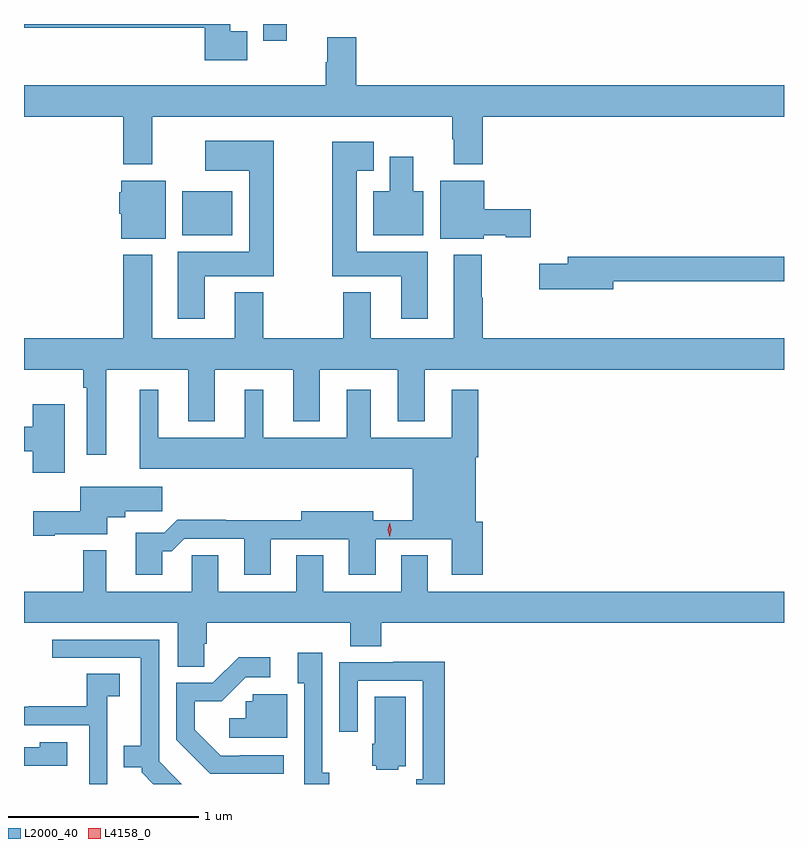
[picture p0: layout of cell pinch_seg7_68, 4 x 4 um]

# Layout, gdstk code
import gdstk
lib = gdstk.Library(unit=1e-6, precision=1e-09)
def R(c, l, rs):  # rectangles x0, y0, x1, y1
    for r in rs: c.add(gdstk.rectangle(r[:2], r[2:], *l))
def P(c, l, *ps):  # polygons
    for p in ps: c.add(gdstk.Polygon(p, *l))
L2000_40 = (2000, 40)
L4158_0 = (4158, 0)

pinch_seg7_68 = lib.new_cell('pinch_seg7_68')
R(pinch_seg7_68, L2000_40, [(960.881,1069.256,961.144,1069.486), (961.307,1070.28,961.429,1070.367)])
P(pinch_seg7_68, L2000_40, [(961.222,1070.329),(961.132,1070.329),(961.132,1070.367),(960.047,1070.367),(960.047,1070.346),(960.998,1070.346),(960.998,1070.177),(961.222,1070.177)],
  [(960.721,1069.88),(962.302,1069.88),(962.302,1069.76),(962.309,1069.76),(962.309,1069.628),(962.462,1069.628),(962.462,1069.88),(964.047,1069.88),(964.047,1070.044),(961.796,1070.044),(961.796,1070.296),(961.643,1070.296),(961.643,1070.165),(961.636,1070.165),(961.636,1070.044),(960.047,1070.044),(960.047,1069.88),(960.569,1069.88),(960.569,1069.628),(960.721,1069.628)],
  [(960.997,1069.04),(961.362,1069.04),(961.362,1069.753),(961.002,1069.753),(961.002,1069.595),(961.232,1069.595),(961.232,1069.168),(960.857,1069.168),(960.857,1068.816),(960.997,1068.816)],
  [(962.173,1069.168),(961.798,1069.168),(961.798,1069.595),(961.888,1069.595),(961.888,1069.747),(961.669,1069.747),(961.669,1069.04),(962.033,1069.04),(962.033,1068.816),(962.173,1068.816)],
  [(962.149,1069.486),(962.095,1069.486),(962.095,1069.669),(961.973,1069.669),(961.973,1069.486),(961.886,1069.486),(961.886,1069.256),(962.149,1069.256)],
  [(960.793,1069.543),(960.56,1069.543),(960.56,1069.482),(960.548,1069.482),(960.548,1069.368),(960.56,1069.368),(960.56,1069.238),(960.793,1069.238)],
  [(962.466,1069.256),(962.583,1069.256),(962.583,1069.244),(962.713,1069.244),(962.713,1069.391),(962.47,1069.391),(962.47,1069.543),(962.237,1069.543),(962.237,1069.238),(962.466,1069.238)],
  [(960.481,1068.548),(960.911,1068.548),(960.911,1068.275),(961.051,1068.275),(961.051,1068.548),(961.463,1068.548),(961.463,1068.275),(961.603,1068.275),(961.603,1068.548),(962.015,1068.548),(962.015,1068.275),(962.155,1068.275),(962.155,1068.548),(964.047,1068.548),(964.047,1068.712),(962.462,1068.712),(962.462,1068.927),(962.457,1068.927),(962.457,1069.153),(962.309,1069.153),(962.309,1068.712),(961.873,1068.712),(961.873,1068.955),(961.726,1068.955),(961.726,1068.712),(961.305,1068.712),(961.305,1068.955),(961.157,1068.955),(961.157,1068.712),(960.721,1068.712),(960.721,1069.153),(960.569,1069.153),(960.569,1068.712),(960.047,1068.712),(960.047,1068.548),(960.36,1068.548),(960.36,1068.452),(960.377,1068.452),(960.377,1068.099),(960.481,1068.099)],
  [(963.148,1069.014),(964.047,1069.014),(964.047,1069.142),(962.909,1069.142),(962.909,1069.106),(962.76,1069.106),(962.76,1068.971),(963.148,1068.971)],
  [(960.775,1067.591),(960.824,1067.591),(960.891,1067.658),(961.205,1067.658),(961.205,1067.469),(961.345,1067.469),(961.345,1067.655),(961.757,1067.655),(961.757,1067.469),(961.897,1067.469),(961.897,1067.655),(962.297,1067.655),(962.297,1067.469),(962.462,1067.469),(962.462,1067.748),(962.425,1067.748),(962.425,1068.086),(962.438,1068.086),(962.438,1068.442),(962.297,1068.442),(962.297,1068.19),(961.873,1068.19),(961.873,1068.442),(961.745,1068.442),(961.745,1068.19),(961.306,1068.19),(961.306,1068.442),(961.208,1068.442),(961.208,1068.19),(960.754,1068.19),(960.754,1068.442),(960.656,1068.442),(960.656,1068.026),(962.093,1068.026),(962.093,1067.756),(961.885,1067.756),(961.885,1067.803),(961.505,1067.803),(961.505,1067.756),(961.109,1067.756),(961.109,1067.759),(960.854,1067.759),(960.784,1067.689),(960.635,1067.689),(960.635,1067.469),(960.775,1067.469)],
  [(960.262,1068.367),(960.092,1068.367),(960.092,1068.247),(960.047,1068.247),(960.047,1068.118),(960.092,1068.118),(960.092,1068.006),(960.262,1068.006)],
  [(960.208,1067.681),(960.484,1067.681),(960.484,1067.771),(960.58,1067.771),(960.58,1067.803),(960.775,1067.803),(960.775,1067.932),(960.344,1067.932),(960.344,1067.803),(960.096,1067.803),(960.096,1067.674),(960.208,1067.674)],
  [(960.996,1067.106),(961.01,1067.106),(961.01,1067.216),(961.763,1067.216),(961.763,1067.092),(961.928,1067.092),(961.928,1067.216),(964.047,1067.216),(964.047,1067.38),(962.173,1067.38),(962.173,1067.57),(962.033,1067.57),(962.033,1067.38),(961.621,1067.38),(961.621,1067.57),(961.481,1067.57),(961.481,1067.38),(961.069,1067.38),(961.069,1067.57),(960.93,1067.57),(960.93,1067.38),(960.481,1067.38),(960.481,1067.596),(960.36,1067.596),(960.36,1067.38),(960.047,1067.38),(960.047,1067.216),(960.857,1067.216),(960.857,1066.984),(960.996,1066.984)],
  [(960.836,1066.409),(960.759,1066.486),(960.759,1067.127),(960.195,1067.127),(960.195,1067.031),(960.662,1067.031),(960.662,1066.569),(960.571,1066.569),(960.571,1066.454),(960.666,1066.454),(960.666,1066.428),(960.727,1066.367),(960.877,1066.367)],
  [(961.654,1066.426),(961.617,1066.426),(961.617,1067.059),(961.487,1067.059),(961.487,1066.898),(961.521,1066.898),(961.521,1066.367),(961.654,1066.367)],
  [(961.414,1066.518),(961.183,1066.518),(961.183,1066.515),(961.083,1066.515),(960.946,1066.652),(960.946,1066.802),(961.088,1066.802),(961.215,1066.929),(961.342,1066.929),(961.342,1067.035),(961.177,1067.035),(961.041,1066.899),(960.849,1066.899),(960.849,1066.601),(961.028,1066.422),(961.414,1066.422)],
  [(962.261,1067.011),(961.991,1067.011),(961.991,1067.007),(961.707,1067.007),(961.707,1066.641),(961.803,1066.641),(961.803,1066.911),(962.145,1066.911),(962.145,1066.391),(962.111,1066.391),(962.111,1066.367),(962.261,1066.367)],
  [(960.486,1066.828),(960.55,1066.828),(960.55,1066.946),(960.378,1066.946),(960.378,1066.776),(960.073,1066.776),(960.073,1066.773),(960.047,1066.773),(960.047,1066.677),(960.39,1066.677),(960.39,1066.367),(960.486,1066.367)],
  [(961.432,1066.839),(961.251,1066.839),(961.251,1066.803),(961.215,1066.803),(961.215,1066.714),(961.128,1066.714),(961.128,1066.611),(961.432,1066.611)],
  [(962.016,1066.46),(962.056,1066.46),(962.056,1066.826),(961.892,1066.826),(961.892,1066.578),(961.88,1066.578),(961.88,1066.464),(961.902,1066.464),(961.902,1066.442),(962.016,1066.442)],
  [(960.274,1066.588),(960.129,1066.588),(960.129,1066.56),(960.047,1066.56),(960.047,1066.464),(960.274,1066.464)])
P(pinch_seg7_68, L4158_0, [(961.971,1067.669),(961.971,1067.669),(961.961,1067.705),(961.971,1067.741),(961.971,1067.741),(961.972,1067.741),(961.981,1067.705),(961.972,1067.669)])

lib.write_gds('pinch_seg7_68.gds')
